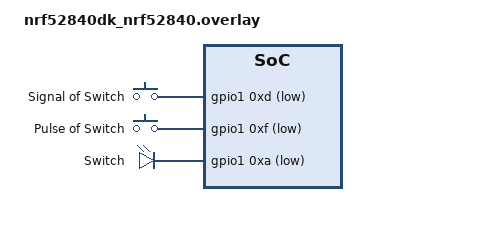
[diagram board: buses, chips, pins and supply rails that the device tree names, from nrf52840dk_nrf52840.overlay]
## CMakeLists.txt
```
#
# Copyright (c) 2019 Nordic Semiconductor ASA
#
# SPDX-License-Identifier: LicenseRef-BSD-5-Clause-Nordic
#
cmake_minimum_required(VERSION 3.8.2)

#Board selection
#set(BOARD nrf52840dk_nrf52840)
#set(BOARD nrf5340pdk_nrf5340_cpunet)
#set(BOARD nrf5340pdk_nrf5340_cpuapp)
set(BOARD nrf52840dongle_nrf52840)
#set(BOARD nrf52840dk_nrf52811)

find_package(Zephyr REQUIRED HINTS $ENV{ZEPHYR_BASE})
project(NONE)

# Include all files in folder src
FILE(GLOB app_sources_c src/*.c)
FILE(GLOB app_sources_cpp src/*.cpp)


target_sources(app PRIVATE
	${app_sources_c}
	${app_sources_cpp})
target_include_directories(app PRIVATE include)
```

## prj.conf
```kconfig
#
# Copyright (c) 2019 Nordic Semiconductor ASA
#
# SPDX-License-Identifier: LicenseRef-BSD-5-Clause-Nordic
#
CONFIG_NCS_SAMPLES_DEFAULTS=y

# General configuration
CONFIG_SYSTEM_WORKQUEUE_STACK_SIZE=2048
CONFIG_FLASH=y
CONFIG_FLASH_MAP=y
CONFIG_FCB=y
CONFIG_SETTINGS=y
CONFIG_HWINFO=y
CONFIG_LOG=y
CONFIG_LOG_PRINTK=y

CONFIG_DK_LIBRARY=y
CONFIG_BT_MESH_DK_PROV=y

# Bluetooth configuration
CONFIG_BT=y
CONFIG_BT_COMPANY_ID=0x0059
CONFIG_BT_DEVICE_NAME="Lampe Schlafzimmer"
CONFIG_BT_L2CAP_RX_MTU=69
CONFIG_BT_L2CAP_TX_MTU=69
CONFIG_BT_L2CAP_TX_BUF_COUNT=8
CONFIG_BT_LL_SW_SPLIT=y
CONFIG_BT_OBSERVER=y
CONFIG_BT_PERIPHERAL=y
CONFIG_BT_SETTINGS=y
CONFIG_BT_MAX_CONN=3

# Disable unused Bluetooth features
CONFIG_BT_CTLR_DUP_FILTER_LEN=0
CONFIG_BT_CTLR_LE_ENC=n
CONFIG_BT_DATA_LEN_UPDATE=n
CONFIG_BT_PHY_UPDATE=n
CONFIG_BT_CTLR_CHAN_SEL_2=n
CONFIG_BT_CTLR_MIN_USED_CHAN=n
CONFIG_BT_CTLR_PRIVACY=n

# Bluetooth Mesh configuration
CONFIG_BT_MESH=y
CONFIG_BT_MESH_RELAY=y
CONFIG_BT_MESH_FRIEND=y
CONFIG_BT_MESH_ADV_BUF_COUNT=13
CONFIG_BT_MESH_TX_SEG_MAX=10
CONFIG_BT_MESH_PB_GATT=y
CONFIG_BT_MESH_GATT_PROXY=y

# Bluetooth Mesh models
CONFIG_BT_MESH_ONOFF_SRV=y
CONFIG_BT_MESH_ONOFF_CLI=y

CONFIG_BOARD_HAS_NRF5_BOOTLOADER=n
```

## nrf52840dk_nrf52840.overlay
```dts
/ {
     inputs {
		compatible = "gpio-keys";
		signal: signal_0 {
			gpios = < &gpio1 0xd 0x11 >;
			label = "Signal of Switch";
		};
        pulse: pulse_0 {
			gpios = < &gpio1 0xf 0x11 >;
			label = "Pulse of Switch";
		};
    };
    outputs {
		compatible = "gpio-leds";
		switch: switch_0 {
			gpios = < &gpio1 0xa 0x11 >;
			label = "Switch";
		};
    };
};
```

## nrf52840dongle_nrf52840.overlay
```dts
/ {
     inputs {
		compatible = "gpio-keys";
		signal: signal_0 {
			gpios = < &gpio1 0xd 0x11 >;
			label = "Signal of Switch";
		};
        pulse: pulse_0 {
			gpios = < &gpio1 0xf 0x11 >;
			label = "Pulse of Switch";
		};
    };
    outputs {
		compatible = "gpio-leds";
		switch: switch_0 {
			gpios = < &gpio1 0xa 0x11 >;
			label = "Switch";
		};
    };
};

&spi1 {
     status = "disabled";
};
```

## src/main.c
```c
#include "bm_config.h"
#include "bm_blemesh.h"
#include "bm_simple_buttons_and_leds.h"
#include <zephyr.h>

/**@brief Function for application main entry.
 */
void main(void) {
  // Start Application
  printk("Starting Application...\n");
  // Init MAC Address
  uint32_t LSB_MAC_Address = NRF_FICR->DEVICEADDR[0];
  printk("Preprogrammed Randomly Static MAC-Address (LSB): 0x%x, %u \n", LSB_MAC_Address, LSB_MAC_Address);
  // Init Leds
  bm_init_leds();
  bm_init_switch();
  // Start Mesh Operation
  bm_blemesh_enable(); // Will return faster than the Stack is realy ready... keep on waiting in the transition.
}
```

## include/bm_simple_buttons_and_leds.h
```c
/*
This file is part of Benchamrk-Shared-Library.

Benchamrk-Shared-Library is free software: you can redistribute it and/or modify
it under the terms of the GNU General Public License as published by
the Free Software Foundation, either version 3 of the License, or
(at your option) any later version.

Benchamrk-Shared-Library is distributed in the hope that it will be useful,
but WITHOUT ANY WARRANTY; without even the implied warranty of
MERCHANTABILITY or FITNESS FOR A PARTICULAR PURPOSE.  See the
GNU General Public License for more details.

You should have received a copy of the GNU General Public License
along with Benchamrk-Shared-Library.  If not, see <http://www.gnu.org/licenses/>.
*/

/* AUTHOR ZEPHYR_BLE_MESH  :   Raffael Anklin        */
/* AUTHOR NRF_SDK_ZIGBEE   :   Cyrill Horath        */


#ifdef __cplusplus
extern "C" {
#endif

#ifndef SIMPLE_BUTTONS_AND_LEDS_H
#define SIMPLE_BUTTONS_AND_LEDS_H

#include "bm_config.h"

#include <zephyr.h>
#include <device.h>
#include <devicetree.h>
#include <devicetree_unfixed.h>
#include <drivers/gpio.h>
#include <sys/util.h>
#include <sys/slist.h>

/*
 * Devicetree helper macro which gets the 'flags' cell from a 'gpios'
 * property, or returns 0 if the property has no 'flags' cell.
 */

#define FLAGS_OR_ZERO(node)						\
	COND_CODE_1(DT_PHA_HAS_CELL(node, gpios, flags),		\
		    (DT_GPIO_FLAGS(node, gpios)),			\
		    (0))



/* The devicetree node identifier for the "led0" alias. */
#define LED0_NODE DT_ALIAS(led0)

#if DT_NODE_HAS_STATUS(LED0_NODE, okay)
#define LED0	DT_GPIO_LABEL(LED0_NODE, gpios)
#define PIN_LED0	DT_GPIO_PIN(LED0_NODE, gpios)
#if DT_PHA_HAS_CELL(LED0_NODE, gpios, flags)
#define FLAGS_LED0	DT_GPIO_FLAGS(LED0_NODE, gpios)
#endif
#else
/* A build error here means your board isn't set up to blink an LED. */
#error "Unsupported board: led0 devicetree alias is not defined"
#define LED0	""
#define PIN_LED0	0
#endif

#ifndef FLAGS_LED0
#define FLAGS_LED0	0
#endif

/* The devicetree node identifier for the "led1" alias. Is the RED LED on THe nRF52 Donlge*/
#define LED1_NODE DT_ALIAS(led1)

#if DT_NODE_HAS_STATUS(LED1_NODE, okay)
#define LED1	DT_GPIO_LABEL(LED1_NODE, gpios)
#define PIN_LED1	DT_GPIO_PIN(LED1_NODE, gpios)
#if DT_PHA_HAS_CELL(LED1_NODE, gpios, flags)
#define FLAGS_LED1	DT_GPIO_FLAGS(LED1_NODE, gpios)
#endif
#else
/* A build error here means your board isn't set up to blink an LED. */
#error "Unsupported board: led1 devicetree alias is not defined"
#define LED1	""
#define PIN_LED1	0
#endif

#ifndef FLAGS_LED1
#define FLAGS_LED1	0
#endif


/* The devicetree node identifier for the "led2" alias. Is the GREEN LED on THe nRF52 Donlge*/
#define LED2_NODE DT_ALIAS(led2)

#if DT_NODE_HAS_STATUS(LED2_NODE, okay)
#define LED2	DT_GPIO_LABEL(LED2_NODE, gpios)
#define PIN_LED2	DT_GPIO_PIN(LED2_NODE, gpios)
#if DT_PHA_HAS_CELL(LED2_NODE, gpios, flags)
#define FLAGS_LED2	DT_GPIO_FLAGS(LED2_NODE, gpios)
#endif
#else
/* A build error here means your board isn't set up to blink an LED. */
#error "Unsupported board: led2 devicetree alias is not defined"
#define LED2	""
#define PIN_LED2	0
#endif

#ifndef FLAGS_LED2
#define FLAGS_LED1	0
#endif

/* The devicetree node identifier for the "led3" alias. Is the BLUE LED on THe nRF52 Donlge*/
#define LED3_NODE DT_ALIAS(led3)

#if DT_NODE_HAS_STATUS(LED3_NODE, okay)
#define LED3	DT_GPIO_LABEL(LED3_NODE, gpios)
#define PIN_LED3	DT_GPIO_PIN(LED3_NODE, gpios)
#if DT_PHA_HAS_CELL(LED3_NODE, gpios, flags)
#define FLAGS_LED3	DT_GPIO_FLAGS(LED3_NODE, gpios)
#endif
#else
/* A build error here means your board isn't set up to blink an LED. */
#error "Unsupported board: led3 devicetree alias is not defined"
#define LED3	""
#define PIN_LED3	0
#endif

#ifndef FLAGS_LED3
#define FLAGS_LED3	0
#endif

/* The devicetree node identifier for the "switch" node. */
#define SWITCH_NODE DT_NODELABEL(switch)

#if DT_NODE_HAS_STATUS(SWITCH_NODE, okay)
#define SWITCH	DT_GPIO_LABEL(SWITCH_NODE, gpios)
#define PIN_SWITCH	DT_GPIO_PIN(SWITCH_NODE, gpios)
#if DT_PHA_HAS_CELL(SWITCH_NODE, gpios, flags)
#define FLAGS_SWITCH	DT_GPIO_FLAGS(SWITCH_NODE, gpios)
#endif
#else
/* A build error here means your board isn't set up to blink an LED. */
#error "Unsupported board: switch devicetree alias is not defined"
#define SWITCH	""
#define PIN_SWITCH	0
#endif

#ifndef FLAGS_SWITCH
#define FLAGS_SWITCH	0
#endif


/*
 * Get button configuration from the devicetree sw0 alias.
 *
 * At least a GPIO device and pin number must be provided. The 'flags'
 * cell is optional.
 */

#define SW0_NODE	DT_ALIAS(sw0)

#if DT_NODE_HAS_STATUS(SW0_NODE, okay)
#define SW0_GPIO_LABEL	DT_GPIO_LABEL(SW0_NODE, gpios)
#define SW0_GPIO_PIN	DT_GPIO_PIN(SW0_NODE, gpios)
#define SW0_GPIO_FLAGS	(GPIO_INPUT | FLAGS_OR_ZERO(SW0_NODE) | GPIO_INT_DEBOUNCE)
#else
#error "Unsupported board: sw0 devicetree alias is not defined"
#define SW0_GPIO_LABEL	""
#define SW0_GPIO_PIN	0
#define SW0_GPIO_FLAGS	0
#endif


/*
 * Get Signal configuration from the devicetree signal node.
 *
 * At least a GPIO device and pin number must be provided. The 'flags'
 * cell is optional.
 */

#define SIGNAL_NODE	DT_NODELABEL(signal)

#if DT_NODE_HAS_STATUS(SIGNAL_NODE, okay)
#define SIGNAL_GPIO_LABEL	DT_GPIO_LABEL(SIGNAL_NODE, gpios)
#define SIGNAL_GPIO_PIN	DT_GPIO_PIN(SIGNAL_NODE, gpios)
#define SIGNAL_GPIO_FLAGS	(GPIO_INPUT | FLAGS_OR_ZERO(SIGNAL_NODE) | GPIO_INT_DEBOUNCE)
#else
#error "Unsupported board: signal devicetree alias is not defined"
#define SIGNAL_GPIO_LABEL	""
#define SIGNAL_GPIO_PIN	0
#define SIGNAL_GPIO_FLAGS	0
#endif

/*
 * Get Pulse configuration from the devicetree pulse node.
 *
 * At least a GPIO device and pin number must be provided. The 'flags'
 * cell is optional.
 */

#define PULSE_NODE	DT_NODELABEL(pulse)

#if DT_NODE_HAS_STATUS(PULSE_NODE, okay)
#define PULSE_GPIO_LABEL	DT_GPIO_LABEL(PULSE_NODE, gpios)
#define PULSE_GPIO_PIN	DT_GPIO_PIN(PULSE_NODE, gpios)
#define PULSE_GPIO_FLAGS	(GPIO_INPUT | FLAGS_OR_ZERO(PULSE_NODE) | GPIO_INT_DEBOUNCE)
#else
#error "Unsupported board: pulse devicetree alias is not defined"
#define PULSE_GPIO_LABEL	""
#define PULSE_GPIO_PIN	0
#define PULSE_GPIO_FLAGS	0
#endif


/**
* Init the Buttons
*
*/
void bm_init_buttons(void (*button0_cb)());

/**
* Init the Signal
*
*/
void bm_init_signal(void (*signal_cb)());

/**
* Init the Pulse
*
*/
void bm_init_pulse(void (*pulse_cb)());


/**
* Get the BUTTON0 Toggled State
*
* @return State of the BUTTON0 Toggled State (0/1)
*/
bool bm_button0_toggle_state_get();

/**
* Set the BUTTON0 Toggled State
*
* @param State of the BUTTON0 Toggled State (0/1)
*/
void bm_button0_toggle_state_set(bool newstate);

/**
* Get the PULSE Toggled State
*
* @return State of the PULSE Toggled State (0/1)
*/
bool bm_pulse_toggle_state_get();

/**
* Set the PULSE Toggled State
*
* @param State of the PULSE Toggled State (0/1)
*/
void bm_pulse_toggle_state_set(bool newstate);

/**
* Get the SIGNAL State
*
* @return State of the SIGNAL State (0/1)
*/
bool bm_signal_state_get();

/**
* Get the SIGNAL Toggled State
*
* @return State of the SIGNAL Toggled State (0/1)
*/
bool bm_signal_toggle_state_get();

/**
* Set the SIGNAL Toggled State
*
* @param State of the SIGNAL Toggled State (0/1)
*/
void bm_signal_toggle_state_set(bool newstate);


/**
* Init the Leds
*
*/
void bm_init_leds();

/**
* Init the Switch
*
*/
void bm_init_switch();

/**
* Set the LED0 State
*
* @param State to set the LED0 to (0/1) (GREEN no RGB on nRF52 Dongle / LED1 on nRF52 DK)
*/
void bm_led0_set(bool state);

/**
* Get the LED0 State
*
* @return State of the LED0 (0/1) (GREEN no RGB on nRF52 Dongle / LED1 on nRF52 DK)
*/
bool bm_led0_get();


/**
* Set the LED1 State
*
* @param State to set the LED1 to (0/1) (RED on nRF52 Dongle / LED2 on nRF52 DK)
*/
void bm_led1_set(bool state);

/**
* Get the LED1 State
*
* @return State of the LED1 (0/1) (RED on nRF52 Dongle / LED2 on nRF52 DK)
*/
bool bm_led1_get();

/**
* Set the LED2 State
*
* @param State to set the LED2 to (0/1) (GREEN on nRF52 Dongle / LED3 on nRF52 DK)
*/
void bm_led2_set(bool state);

/**
* Get the LED2 State
*
* @return State of the LED2 (0/1) (GREEN on nRF52 Dongle / LED3 on nRF52 DK)
*/
bool bm_led2_get();

/**
* Set the LED3 State
*
* @param State to set the LED3 to (0/1) (BLUE on nRF52 Dongle / LED4 on nRF52 DK)
*/
void bm_led3_set(bool state);

/**
* Get the LED3 State
*
* @return State of the LED3 (0/1) (BLUE on nRF52 Dongle / LED4 on nRF52 DK)
*/
bool bm_led3_get();

/**
* Set the Switch State
*
* @param State to set the Switch to (0/1) 
*/
void bm_switch_set(bool state);

/**
* Get the SWITCH State
*
* @return State of the SWITCH (0/1)
*/
bool bm_switch_get();

#endif

#ifdef __cplusplus
}
#endif
```

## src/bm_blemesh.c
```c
/*
This file is part of Bluetooth-Benchamrk.

Bluetooth-Benchamrk is free software: you can redistribute it and/or modify
it under the terms of the GNU General Public License as published by
the Free Software Foundation, either version 3 of the License, or
(at your option) any later version.

Bluetooth-Benchamrk is distributed in the hope that it will be useful,
but WITHOUT ANY WARRANTY; without even the implied warranty of
MERCHANTABILITY or FITNESS FOR A PARTICULAR PURPOSE.  See the
GNU General Public License for more details.

You should have received a copy of the GNU General Public License
along with Bluetooth-Benchamrk.  If not, see <http://www.gnu.org/licenses/>.
*/

/* AUTHOR 	 :    Raffael Anklin       */

/* Pin Assigments: 

| Port.Pin 	| Description
|	P1.10	|	Switch ON/OFF
|	P1.13	|	Signal from Host (1=ON/0=OFF)
|	P1.15	|	Switch Pulse from Host (1s High for Active Switching)

*/


#include "bm_config.h"
#include <bluetooth/bluetooth.h>
#include <bluetooth/mesh/models.h>
#include <drivers/hwinfo.h>
#include "bm_blemesh_model_handler.h"
#include "bm_blemesh.h"
#include <bluetooth/mesh/main.h>
#include "bm_simple_buttons_and_leds.h"



static bool initialized=false; // Flag if the Stack is initialized

static void prov_complete(uint16_t net_idx, uint16_t src)
{
	printk("Prov complete! Addr: 0x%04x\n", src);
}

static void prov_reset(void)
{
	bt_mesh_prov_enable(BT_MESH_PROV_ADV | BT_MESH_PROV_GATT);
}

static int input(bt_mesh_input_action_t act, uint8_t size)
{
	printk("Press a button to set the right number.");
	return 0;
}

static void input_complete(void)
{
	printk("Input Complete");
}

static int output_number(bt_mesh_output_action_t action, uint32_t number)
{
	if (action == BT_MESH_DISPLAY_NUMBER) {
		printk("OOB Number: %u\n", number);
		return 0;
	}

	if (action == BT_MESH_BLINK) {
		printk("Blinking %u times", number);
		return 0;
	}

	return -ENOTSUP;
}

static int output_string(const char *string)
{
	printk("OOB String: %s\n", string);
	return 0;
}

static uint8_t dev_uuid[16];

static struct bt_mesh_prov prov = {
	.uuid = dev_uuid,
	.output_size = 1,
	.output_actions = (0),
	.output_number = output_number,
	.output_string = output_string,
	.input_size = 1,
	.input = input,
	.complete = prov_complete,
	.input_complete = input_complete,
	.reset = prov_reset
	};

// Init the rest while Bluetooth is enabled
static void bt_ready(int err){

	/* --------------- Init Board ------------*/
	printk("Init Buttons and LEDs...\n");
	
	printk("Buttons and LEDs initialized\n");
	/* ===================================*/
	
	/* --------------- Init Mesh ------------*/
	printk("Init Mesh...\n");
	
	hwinfo_get_device_id(dev_uuid, sizeof(dev_uuid));
	// Do catch for nrf53 -> no HWINFO set (0xFFFF)
	if (dev_uuid[0] == 0xFF && dev_uuid[1] == 0xFF && dev_uuid[5] == 0xFF){
		uint8_t *p0 = (uint8_t*)&NRF_FICR->DEVICEADDR[0]; // Use MAC Address for UUID
		dev_uuid[0] = p0[0];
		dev_uuid[1] = p0[1];
		dev_uuid[2] = p0[2];
		dev_uuid[3] = p0[3];
		uint8_t *p1 = (uint8_t*)&NRF_FICR->DEVICEADDR[1]; // Use MAC Address for UUID
		dev_uuid[4] = p1[0];
		dev_uuid[5] = p1[1];
	}

	err = bt_mesh_init(&prov, bm_blemesh_model_handler_init());
	if (err)
	{
		printk("Initializing mesh failed (err %d)\n", err);
		return;
	}
	printk("Mesh initialized\n");
	/* ===================================*/

	/* ------------- Provisioning ------------*/
	printk("Provisioning...\n");
	if (IS_ENABLED(CONFIG_SETTINGS))
	{
		settings_load();
	}
	/* 
	err = bt_mesh_provision(net_key, net_idx, flags, iv_index, addr,
							dev_key);
	*/
	/* This will be a no-op if settings_load() loaded provisioning info */
	err = bt_mesh_prov_enable(BT_MESH_PROV_ADV | BT_MESH_PROV_GATT);
	if (err == -EALREADY)
	{
		printk("Already Provisioned (Restored Settings)\n");
	}
	else if (err)
	{
		printk("Provisioning failed (err %d)\n", err);
		return;
	}
	else
	{
		printk("Provisioning completed\n");
	}
	/* ===================================*/

	initialized = true;
}

void bm_blemesh_enable(void)
{
	int err;

	/* ---------- Init Bluetooth ---------- */
	printk("Enabling Bluetooth...\n");
	err = bt_enable(bt_ready);
	while (initialized == false){
		k_sleep(K_MSEC(10));
	}
	if (err)
	{
		printk("Bluetooth init failed (err %d)\n", err);
		return;
	} 
	printk("Bluetooth initialized\n");
	/* =====================================*/

	
	//bm_sleep(bm_rand_32 % 5000); // Sleep Random Time for LPN Activation
	/*
	bt_mesh_cfg_friend_set(net_idx,addr,false,&stat);
	printk("Err Code: %d\n", stat);
	bt_mesh_lpn_set(true); // Enable Low Power Node
	*/	
	printk("Configuring done\n");

	//bm_led0_set(true); // Signal that the Configuring was sucessfull
	/* ===================================*/	
}
```

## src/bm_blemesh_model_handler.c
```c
/*
This file is part of Bluetooth-Benchamrk.

Bluetooth-Benchamrk is free software: you can redistribute it and/or modify
it under the terms of the GNU General Public License as published by
the Free Software Foundation, either version 3 of the License, or
(at your option) any later version.

Bluetooth-Benchamrk is distributed in the hope that it will be useful,
but WITHOUT ANY WARRANTY; without even the implied warranty of
MERCHANTABILITY or FITNESS FOR A PARTICULAR PURPOSE.  See the
GNU General Public License for more details.

You should have received a copy of the GNU General Public License
along with Bluetooth-Benchamrk.  If not, see <http://www.gnu.org/licenses/>.
*/

/* AUTHOR 	 :    Raffael Anklin       */

/* Pin Assigments: 

| Port.Pin 	| Description
|	P1.10	|	Switch ON/OFF
|	P1.13	|	Signal from Host (1=ON/0=OFF)
|	P1.15	|	Switch Pulse from Host (1s High for Active Switching)

*/

#include "bm_config.h"
#include "bm_simple_buttons_and_leds.h"
#include "bm_blemesh.h"
#include "bm_blemesh_model_handler.h"

#include <bluetooth/bluetooth.h>
#include <bluetooth/mesh/models.h>
#include <bluetooth/mesh/model_types.h>

#define PORT DT_ALIAS_GPIO_1_LABEL
#define Switch_PIN 10
#define Signal_PIN 13
#define Pulse_PIN 15

int64_t last_switch_server;

/** Generic OnOff client definition */
static void status_handler_onoff_cli(struct bt_mesh_onoff_cli *cli,
									 struct bt_mesh_msg_ctx *ctx,
									 const struct bt_mesh_onoff_status *status)
{
}
struct bt_mesh_onoff_cli on_off_cli = BT_MESH_ONOFF_CLI_INIT(&status_handler_onoff_cli);

static void pulse_cb()
{
	//int err;
	if ((k_uptime_get() - last_switch_server) > 1000)
	{
		struct bt_mesh_onoff_set set = {
			.on_off = (bm_signal_state_get()),
		};
		bt_mesh_onoff_cli_set(&on_off_cli, NULL, &set, NULL);

		//printk("Set from Signal State: %d",bm_signal_state_get() );
		bm_led2_set(!bm_led2_get()); // Toggle the Blue LED
	}
}

static void signal_cb()
{
	bm_led1_set(!bm_led1_get()); // Toggle the Red LED
}

/** ON/OFF Server definition */
static void led_set(struct bt_mesh_onoff_srv *srv, struct bt_mesh_msg_ctx *ctx,
					const struct bt_mesh_onoff_set *set,
					struct bt_mesh_onoff_status *rsp)
{
	// Set DK LED index
	bm_switch_set(set->on_off);
	last_switch_server = k_uptime_get();
}

static void led_get(struct bt_mesh_onoff_srv *srv, struct bt_mesh_msg_ctx *ctx,
					struct bt_mesh_onoff_status *rsp)
{
	// Send respond Status
	rsp->present_on_off = bm_switch_get();
}

static const struct bt_mesh_onoff_srv_handlers onoff_handlers = {
	.set = led_set,
	.get = led_get,
};

static struct bt_mesh_onoff_srv on_off_srv = BT_MESH_ONOFF_SRV_INIT(&onoff_handlers);

/** Health Server definition */
static void attention_on(struct bt_mesh_model *model)
{
	printk("attention_on()\n");
}

static void attention_off(struct bt_mesh_model *model)
{
	printk("attention_off()\n");
}
static const struct bt_mesh_health_srv_cb health_srv_cb = {
	.attn_on = attention_on,
	.attn_off = attention_off,
};

static struct bt_mesh_health_srv health_srv = {
	.cb = &health_srv_cb,
};

BT_MESH_HEALTH_PUB_DEFINE(health_pub, 0);

/* Define all Elements */
static struct bt_mesh_elem elements[] = {
	BT_MESH_ELEM(
		1, BT_MESH_MODEL_LIST(BT_MESH_MODEL_CFG_SRV, BT_MESH_MODEL_HEALTH_SRV(&health_srv, &health_pub), BT_MESH_MODEL_ONOFF_CLI(&on_off_cli), BT_MESH_MODEL_ONOFF_SRV(&on_off_srv)),
		BT_MESH_MODEL_NONE)};

/* Create Composition */
static const struct bt_mesh_comp comp = {
	.cid = CONFIG_BT_COMPANY_ID,
	.elem = elements,
	.elem_count = ARRAY_SIZE(elements),
};

const struct bt_mesh_comp *bm_blemesh_model_handler_init(void)
{
	bm_init_buttons(pulse_cb); // Init Buttons
	bm_init_pulse(pulse_cb);   // Init Pulse input
	bm_init_signal(signal_cb); // Init Signal input
	return &comp;
}
```

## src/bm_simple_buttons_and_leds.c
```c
/*
This file is part of Benchmark-Shared-Library.

Benchmark-Shared-Library is free software: you can redistribute it and/or modify
it under the terms of the GNU General Public License as published by
the Free Software Foundation, either version 3 of the License, or
(at your option) any later version.

Benchmark-Shared-Library is distributed in the hope that it will be useful,
but WITHOUT ANY WARRANTY; without even the implied warranty of
MERCHANTABILITY or FITNESS FOR A PARTICULAR PURPOSE.  See the
GNU General Public License for more details.

You should have received a copy of the GNU General Public License
along with Benchmark-Shared-Library.  If not, see <http://www.gnu.org/licenses/>.
*/

/* AUTHOR ZEPHYR_BLE_MESH  :   Raffael Anklin        */
/* AUTHOR NRF_SDK_ZIGBEE   :   Cyrill Horath        */

#include "bm_simple_buttons_and_leds.h"


struct device *dev_led0, *dev_led1, *dev_led2, *dev_led3, *dev_button0, *dev_switch, *dev_signal, *dev_pulse;
bool led0_is_on, led1_is_on, led2_is_on, led3_is_on, switch_is_on = true;
bool button0_toggel_state, signal_toggel_state, pulse_toggel_state = true;
int ret;

static struct gpio_callback button_cb_data, signal_cb_data, pulse_cb_data;

static struct k_delayed_work buttons_debounce, signal_debounce, pulse_debounce;

static void (*button0_callback)(), (*signal_callback)(), (*pulse_callback)();

static void buttons_debounce_fn(struct k_work *work) {
  button0_toggel_state = !button0_toggel_state;
  button0_callback();
}

static void signal_debounce_fn(struct k_work *work) {
  signal_toggel_state = !signal_toggel_state;
  signal_callback();
}

static void pulse_debounce_fn(struct k_work *work) {
  pulse_toggel_state = !pulse_toggel_state;
  pulse_callback();
}

void button_pressed(struct device *dev, struct gpio_callback *cb,
    uint32_t pins) {
  if (dev == dev_button0) {
    k_delayed_work_submit(&buttons_debounce, K_MSEC(170)); // Debounce the Button
                                                           //button0_callback();
  }
  //printk("Button pressed at %" PRIu32 "\n", k_cycle_get_32());
}

void signal_pressed(struct device *dev, struct gpio_callback *cb,
    uint32_t pins) {
  if (dev == dev_signal) {
    k_delayed_work_submit(&signal_debounce, K_MSEC(500)); // Debounce the Signal
                                                           //button0_callback();
  }
  //printk("Button pressed at %" PRIu32 "\n", k_cycle_get_32());
}

void pulse_pressed(struct device *dev, struct gpio_callback *cb,
    uint32_t pins) {
  if (dev == dev_pulse) {
    k_delayed_work_submit(&pulse_debounce, K_MSEC(500)); // Debounce the Pulse
                                                           //button0_callback();
  }
  //printk("Button pressed at %" PRIu32 "\n", k_cycle_get_32());
}

/* Init the Buttons */
void bm_init_buttons(void (*button0_cb)()) {
  dev_button0 = device_get_binding(SW0_GPIO_LABEL);
  if (dev_button0 == NULL) {
    printk("Error: didn't find %s device\n", SW0_GPIO_LABEL);
    return;
  }
  ret = gpio_pin_configure(dev_button0, SW0_GPIO_PIN, SW0_GPIO_FLAGS);
  if (ret != 0) {
    printk("Error %d: failed to configure %s pin %d\n",
        ret, SW0_GPIO_LABEL, SW0_GPIO_PIN);
    return;
  }
  ret = gpio_pin_interrupt_configure(dev_button0,
      SW0_GPIO_PIN,
      GPIO_INT_EDGE_TO_ACTIVE);
  if (ret != 0) {
    printk("Error %d: failed to configure interrupt on %s pin %d\n",
        ret, SW0_GPIO_LABEL, SW0_GPIO_PIN);
    return;
  }

  gpio_init_callback(&button_cb_data, button_pressed, BIT(SW0_GPIO_PIN));
  gpio_add_callback(dev_button0, &button_cb_data);
  printk("Set up button at %s pin %d\n", SW0_GPIO_LABEL, SW0_GPIO_PIN);
  button0_callback = button0_cb;

  k_delayed_work_init(&buttons_debounce, buttons_debounce_fn);
}

/* Init the Signal */
void bm_init_signal(void (*signal_cb)()) {
  dev_signal = device_get_binding(SIGNAL_GPIO_LABEL);
  if (dev_signal == NULL) {
    printk("Error: didn't find %s device\n", SIGNAL_GPIO_LABEL);
    return;
  }
  ret = gpio_pin_configure(dev_signal, SIGNAL_GPIO_PIN, GPIO_PULL_DOWN | GPIO_INPUT);
  if (ret != 0) {
    printk("Error %d: failed to configure %s pin %d\n",
        ret, SIGNAL_GPIO_LABEL, SIGNAL_GPIO_PIN);
    return;
  }
  ret = gpio_pin_interrupt_configure(dev_signal,
      SIGNAL_GPIO_PIN,
      GPIO_INT_EDGE_TO_ACTIVE);
  if (ret != 0) {
    printk("Error %d: failed to configure interrupt on %s pin %d\n",
        ret, SIGNAL_GPIO_LABEL, SIGNAL_GPIO_PIN);
    return;
  }

  gpio_init_callback(&signal_cb_data, signal_pressed, BIT(SIGNAL_GPIO_PIN));
  gpio_add_callback(dev_signal, &signal_cb_data);
  printk("Set up signal at %s pin %d\n", SIGNAL_GPIO_LABEL, SIGNAL_GPIO_PIN);
  signal_callback = signal_cb;

  k_delayed_work_init(&signal_debounce, signal_debounce_fn);
}

/* Init the Pulse */
void bm_init_pulse(void (*pulse_cb)()) {
  dev_pulse = device_get_binding(PULSE_GPIO_LABEL);
  if (dev_pulse == NULL) {
    printk("Error: didn't find %s device\n", PULSE_GPIO_LABEL);
    return;
  }
  ret = gpio_pin_configure(dev_pulse, PULSE_GPIO_PIN, GPIO_PULL_DOWN | GPIO_INPUT);
  if (ret != 0) {
    printk("Error %d: failed to configure %s pin %d\n",
        ret, PULSE_GPIO_LABEL, PULSE_GPIO_PIN);
    return;
  }
  ret = gpio_pin_interrupt_configure(dev_pulse,
      PULSE_GPIO_PIN,
      GPIO_INT_EDGE_TO_ACTIVE);
  if (ret != 0) {
    printk("Error %d: failed to configure interrupt on %s pin %d\n",
        ret, PULSE_GPIO_LABEL, PULSE_GPIO_PIN);
    return;
  }

  gpio_init_callback(&pulse_cb_data, pulse_pressed, BIT(PULSE_GPIO_PIN));
  gpio_add_callback(dev_pulse, &pulse_cb_data);
  printk("Set up pulse at %s pin %d\n", PULSE_GPIO_LABEL, PULSE_GPIO_PIN);
  pulse_callback = pulse_cb;

  k_delayed_work_init(&pulse_debounce, pulse_debounce_fn);
}

/* Init the Leds */
void bm_init_leds() {
  dev_led0 = device_get_binding(LED0);
  if (dev_led0 == NULL) {
    printk("Error no LED0 found");
    return;
  }
  ret = gpio_pin_configure(dev_led0, PIN_LED0, GPIO_OUTPUT_INACTIVE | FLAGS_LED0);
  if (ret < 0) {
    printk("Error in configuration of led0 pin (err %d)", ret);
    return;
  }
  dev_led1 = device_get_binding(LED1);
  if (dev_led1 == NULL) {
    printk("Error no LED1 found");
    return;
  }
  ret = gpio_pin_configure(dev_led1, PIN_LED1, GPIO_OUTPUT_INACTIVE | FLAGS_LED1);
  if (ret < 0) {
    printk("Error in configuration of led1 pin (err %d)", ret);
    return;
  }
  dev_led2 = device_get_binding(LED2);
  if (dev_led2 == NULL) {
    printk("Error no LED2 found");
    return;
  }
  ret = gpio_pin_configure(dev_led2, PIN_LED2, GPIO_OUTPUT_INACTIVE | FLAGS_LED2);
  if (ret < 0) {
    printk("Error in configuration of led2 pin (err %d)", ret);
    return;
  }
  dev_led3 = device_get_binding(LED3);
  if (dev_led3 == NULL) {
    printk("Error no LED3 found");
    return;
  }
  ret = gpio_pin_configure(dev_led3, PIN_LED3, GPIO_OUTPUT_INACTIVE | FLAGS_LED3);
  if (ret < 0) {
    printk("Error in configuration of led3 pin (err %d)", ret);
    return;
  }
}

/* Init the Switch */
void bm_init_switch() {
  dev_switch = device_get_binding(SWITCH);
  if (dev_switch == NULL) {
    printk("Error no SWITCH found");
    return;
  }
  ret = gpio_pin_configure(dev_switch, PIN_SWITCH, GPIO_OUTPUT_INACTIVE);
  if (ret < 0) {
    printk("Error in configuration of switch pin (err %d)", ret);
    return;
  }
}

/* Set LED0. pca10059 -> Green LED */
void bm_led0_set(bool state) {
  gpio_pin_set(dev_led0, PIN_LED0, (int)state);
  led0_is_on = state;
}

/* Get LED0 */
bool bm_led0_get() {
  return led0_is_on;
}

/* Set LED1. pca10059 -> Red LED (RGB) */
void bm_led1_set(bool state) {
  gpio_pin_set(dev_led1, PIN_LED1, (int)state);
  led1_is_on = state;
}

/* Get LED1 */
bool bm_led1_get() {
  return led1_is_on;
}

/* Set LED2. pca10059 -> Green LED (RGB) */
void bm_led2_set(bool state) {
  gpio_pin_set(dev_led2, PIN_LED2, (int)state);
  led2_is_on = state;
}

/* Get LED2 */
bool bm_led2_get() {
  return led2_is_on;
}

/* Set LED3. pca10059 -> Blue LED (RGB)  */
void bm_led3_set(bool state) {
  gpio_pin_set(dev_led3, PIN_LED3, (int)state);
  led3_is_on = state;
}

/* Get LED3 */
bool bm_led3_get() {
  return led3_is_on;
}

/* Set SWITCH */
void bm_switch_set(bool state) {
  gpio_pin_set(dev_switch, PIN_SWITCH, (int)state);
  switch_is_on = state;
}

/* Get Switch */
bool bm_switch_get() {
  return switch_is_on;
}


/* Get BUTTON0 Toggled State*/
bool bm_button0_toggle_state_get() {
  //gpio_pin_get(dev_led0, PIN_LED0, (int)state);
  return button0_toggel_state;
}

/* Set BUTTON0 Toggled State*/
void bm_button0_toggle_state_set(bool newstate) {
  //gpio_pin_get(dev_led0, PIN_LED0, (int)state);
  button0_toggel_state = newstate;
}

/* Get SIGNAL State*/
bool bm_signal_state_get() {
  //gpio_pin_get(dev_led0, PIN_LED0, (int)state);
  return (bool) gpio_pin_get(dev_signal, SIGNAL_GPIO_PIN);
}

/* Get SIGNAL Toggled State*/
bool bm_signal_toggle_state_get() {
  //gpio_pin_get(dev_led0, PIN_LED0, (int)state);
  return signal_toggel_state;
}

/* Set SIGNAL Toggled State*/
void bm_signal_toggle_state_set(bool newstate) {
  //gpio_pin_get(dev_led0, PIN_LED0, (int)state);
  signal_toggel_state = newstate;
}

/* Get PULSE Toggled State*/
bool bm_pulse_toggle_state_get() {
  //gpio_pin_get(dev_led0, PIN_LED0, (int)state);
  return pulse_toggel_state;
}

/* Set PULSE Toggled State*/
void bm_pulse_toggle_state_set(bool newstate) {
  //gpio_pin_get(dev_led0, PIN_LED0, (int)state);
  pulse_toggel_state = newstate;
}
```
